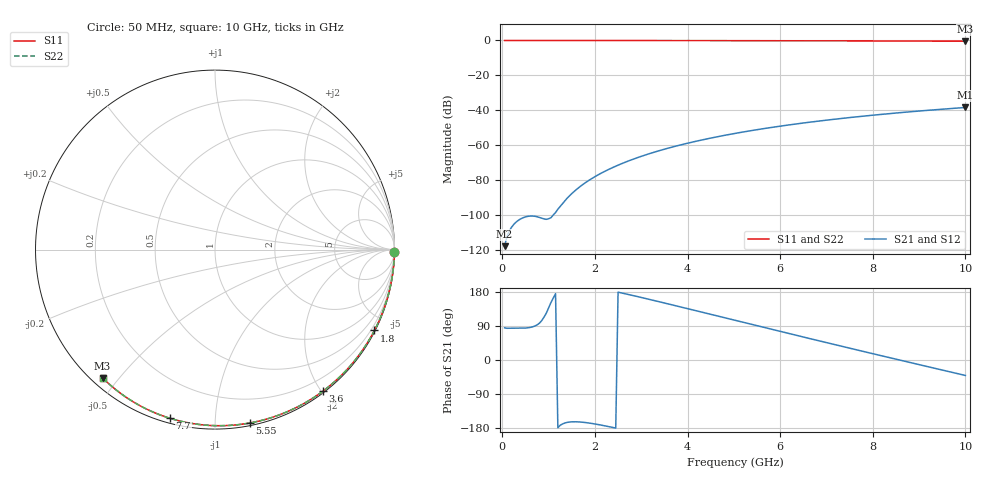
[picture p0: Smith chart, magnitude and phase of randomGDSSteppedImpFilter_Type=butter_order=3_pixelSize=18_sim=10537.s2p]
! freq	dB(S11)	phase(S11)	dB(S12)	phase(S12)
!  dB(S21)	phase(S21)	dB(S22)	phase(S22)
!S-par simulation data
#  GHz  S  DB  R 50
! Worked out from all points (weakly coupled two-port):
!   200 points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, 50 MHz to 10 GHz, reference 50 ohm
!   highest |S21| = -38.41 dB at 10 GHz (marker M1); lowest = -117.9 dB at 50 MHz (marker M2)
!   lowest |S11| = -0.4 dB at 10 GHz (marker M3), VSWR 39.12, Z = 1.54 - j22.6 ohm
!   |S11| at or under -10 dB: nowhere
!   |S22| runs from -0.4 to 0.0 dB; largest |S21 - S12| = 0
!   S11 on the Smith chart (normalised r, x): 50 MHz: open; 1.8 GHz: 0.04, -4.18; 3.6 GHz: 0.02, -2.02; 5.55 GHz: 0.02, -1.22; 7.7 GHz: 0.02, -0.77; 10 GHz: 0.03, -0.45
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0.05  -0.00 -0.8  -117.86 84.8  -117.86 84.8  -0.00 -0.8
0.9  -0.02 -13.6  -102.24 113.0  -102.24 113.0  -0.02 -13.6
1.75  -0.03 -26.2  -82.32 -164.4  -82.32 -164.4  -0.03 -26.2
1.8  -0.03 -26.9  -81.38 -165.1  -81.38 -165.1  -0.03 -26.9
1.85  -0.04 -27.6  -80.50 -165.9  -80.50 -165.9  -0.04 -27.6
1.9  -0.04 -28.4  -79.65 -166.8  -79.65 -166.8  -0.04 -28.4
2.05  -0.04 -30.6  -77.28 -169.9  -77.28 -169.9  -0.04 -30.5
2.25  -0.04 -33.5  -74.49 -174.6  -74.49 -174.6  -0.04 -33.5
2.45  -0.05 -36.3  -72.02 -179.7  -72.02 -179.7  -0.05 -36.3
2.65  -0.05 -39.2  -69.80 174.9  -69.80 174.9  -0.05 -39.2
3  -0.06 -44.2  -66.40 165.1  -66.40 165.1  -0.06 -44.2
3.4  -0.07 -49.8  -63.06 153.4  -63.06 153.4  -0.07 -49.8
3.6  -0.07 -52.6  -61.57 147.5  -61.57 147.5  -0.07 -52.6
4.3  -0.09 -62.2  -57.07 126.6  -57.07 126.6  -0.09 -62.1
5.05  -0.11 -72.1  -53.14 104.0  -53.14 104.0  -0.11 -72.1
5.55  -0.13 -78.6  -50.91 89.0  -50.91 89.0  -0.13 -78.6
6.1  -0.15 -85.5  -48.72 72.6  -48.72 72.6  -0.15 -85.5
6.7  -0.18 -92.9  -46.62 54.7  -46.62 54.7  -0.18 -92.9
7.7  -0.24 -104.9  -43.62 25.4  -43.62 25.4  -0.24 -104.9
8.35  -0.29 -112.5  -41.94 6.5  -41.94 6.5  -0.29 -112.5
9.15  -0.36 -121.6  -40.11 -16.5  -40.11 -16.5  -0.36 -121.6
10  -0.44 -131.2  -38.41 -40.8  -38.41 -40.8  -0.44 -131.2
